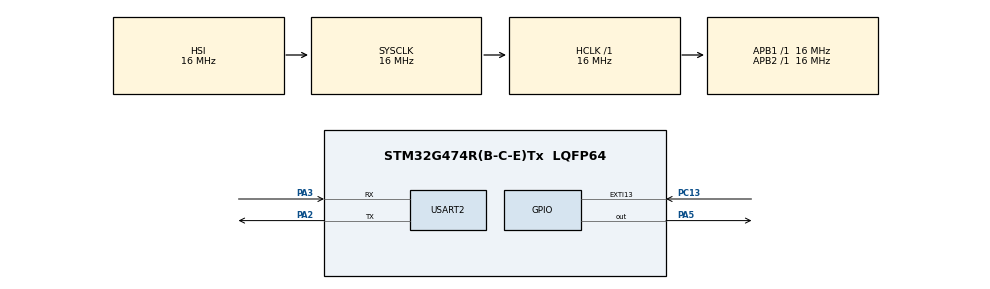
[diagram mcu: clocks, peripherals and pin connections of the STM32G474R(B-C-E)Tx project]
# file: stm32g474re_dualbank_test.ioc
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Mcu.Family=STM32G4
Mcu.Name=STM32G474R(B-C-E)Tx
Mcu.Package=LQFP64
NVIC.EXTI15_10_IRQn=true\:1\:0\:true\:false\:true\:true\:true
NVIC.PriorityGroup=NVIC_PRIORITYGROUP_4
PA13.Mode=Serial_Wire
PA13.Signal=SYS_JTMS-SWDIO
PA14.Mode=Serial_Wire
PA14.Signal=SYS_JTCK-SWCLK
PA2.Mode=Asynchronous
PA2.Signal=USART2_TX
PA3.Mode=Asynchronous
PA3.Signal=USART2_RX
PA5.Signal=GPIO_Output
PC13.Signal=GPXTI13
ProjectManager.HeapSize=0x200
ProjectManager.StackSize=0x800
ProjectManager.TargetToolchain=STM32CubeIDE
RCC.AHBFreq_Value=16000000
RCC.APB1Freq_Value=16000000
RCC.APB1TimFreq_Value=16000000
RCC.APB2Freq_Value=16000000
RCC.APB2TimFreq_Value=16000000
RCC.CortexFreq_Value=16000000
RCC.EXTERNAL_CLOCK_VALUE=12288000
RCC.HCLKFreq_Value=16000000
RCC.HSE_VALUE=8000000
RCC.HSI48_VALUE=48000000
RCC.HSI_VALUE=16000000
RCC.LSE_VALUE=32768
RCC.SYSCLKFreq_VALUE=16000000
RCC.USBFreq_Value=64000000
RCC.VCOOutputFreq_Value=128000000
USART2.VirtualMode-Asynchronous=VM_ASYNC
VP_SYS_VS_DBSignals.Mode=DisableDeadBatterySignals
board=custom

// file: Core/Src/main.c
/* USER CODE BEGIN Header */
/**
  ******************************************************************************
  * @file           : main.c
  * @brief          : Main program body
  ******************************************************************************
  * @attention
  *
  * <h2><center>&copy; Copyright (c) 2020 STMicroelectronics.
  * All rights reserved.</center></h2>
  *
  * This software component is licensed by ST under BSD 3-Clause license,
  * the "License"; You may not use this file except in compliance with the
  * License. You may obtain a copy of the License at:
  *                        opensource.org/licenses/BSD-3-Clause
  *
  ******************************************************************************
  */
/* USER CODE END Header */
#include "main.h"
#include "usart.h"
#include "gpio.h"

/* USER CODE BEGIN Includes */
#include <stdio.h>
#include "flash_if.h"
#include "fw.h"
/* USER CODE END Includes */

void SystemClock_Config(void);
/* USER CODE BEGIN PFP */
extern UART_HandleTypeDef huart2;
int _write(int32_t file, uint8_t *ptr, int32_t len)
{
  if( HAL_UART_Transmit(&huart2, ptr, len, len) == HAL_OK )
    return len;
  else
    return 0;
}
/* USER CODE END PFP */

/* USER CODE BEGIN 0 */
FLASH_OBProgramInitTypeDef    OBInit;
uint32_t BankActive = 0U;
uint32_t BankInActive = 0U;
uint32_t BankSwitch = 0U;

uint32_t checksum = 0;
/* USER CODE END 0 */

int main(void)
{

  /* MCU Configuration--------------------------------------------------------*/

  /* Reset of all peripherals, Initializes the Flash interface and the Systick. */
  HAL_Init();

  /* Configure the system clock */
  SystemClock_Config();

  /* Initialize all configured peripherals */
  MX_GPIO_Init();
  MX_USART2_UART_Init();
  /* USER CODE BEGIN 2 */
  if(READ_BIT(SYSCFG->MEMRMP, SYSCFG_MEMRMP_FB_MODE) == SYSCFG_MEMRMP_FB_MODE)
  {
    BankActive = FLASH_BANK_2;
    BankInActive = FLASH_BANK_1;
  }
  else
  {
    BankActive = FLASH_BANK_1;
    BankInActive = FLASH_BANK_2;
  }

  printf("\r\n\r\n\r\nHello World!!!\r\nApplication Bank num : %d\r\n", (int)BankActive);
  /* USER CODE END 2 */

  /* Infinite loop */
  /* USER CODE BEGIN WHILE */
  while (1)
  {
    //HAL_Delay(200);
    //HAL_GPIO_TogglePin(GPIOA, GPIO_PIN_5);

    //if(BankSwitch == 1)
    {
      /************************* Flash writing ************************/
      printf("Flash erasing...\r\n");

      if(FLASH_If_Erase(BankInActive) != FLASHIF_OK)
      {
        printf("Flash erasing error\r\n");
        while(1){};
      }

      if(FLASH_If_Write(FLASH_START_BANK2, (uint32_t *)FLASH_START_BANK1, 0x40000) != FLASHIF_OK)
      {
        printf("Flash writing error\r\n");
        while(1){};
      }

      printf("Flash writing finished\r\n");
      /************************* Bank switch ************************/
      printf("Bank switch!!!\r\n");
      HAL_FLASH_Unlock();

      /* Clear OPTVERR bit set on virgin samples */
      __HAL_FLASH_CLEAR_FLAG(FLASH_FLAG_OPTVERR);

      /* Allow Access to option bytes sector */
      HAL_FLASH_OB_Unlock();

      /* Get the Dual boot configuration status */
      HAL_FLASHEx_OBGetConfig(&OBInit);

      /* Enable/Disable dual boot feature */
      OBInit.OptionType = OPTIONBYTE_USER;
      OBInit.USERType   = OB_USER_BFB2;

      if (((OBInit.USERConfig) & (OB_BFB2_ENABLE)) == OB_BFB2_ENABLE)
      {
        OBInit.USERConfig = OB_BFB2_DISABLE;
      }
      else
      {
        OBInit.USERConfig = OB_BFB2_ENABLE;
      }

      if(HAL_FLASHEx_OBProgram (&OBInit) != HAL_OK)
      {
        while (1)
        {
          HAL_GPIO_WritePin(GPIOA, GPIO_PIN_5, GPIO_PIN_SET);
          HAL_Delay(100);
          HAL_GPIO_WritePin(GPIOA, GPIO_PIN_5, GPIO_PIN_RESET);
          HAL_Delay(2000);
        }
      }

      if (HAL_FLASH_OB_Launch() != HAL_OK)
      {
        while (1)
        {
          HAL_GPIO_WritePin(GPIOA, GPIO_PIN_5, GPIO_PIN_SET);
          HAL_Delay(100);
          HAL_GPIO_WritePin(GPIOA, GPIO_PIN_5, GPIO_PIN_RESET);
          HAL_Delay(2000);
        }
      }

      HAL_FLASH_OB_Lock();
      HAL_FLASH_Lock();
    }
    /* USER CODE END WHILE */

  }
}

void SystemClock_Config(void)
{
  RCC_OscInitTypeDef RCC_OscInitStruct = {0};
  RCC_ClkInitTypeDef RCC_ClkInitStruct = {0};
  RCC_PeriphCLKInitTypeDef PeriphClkInit = {0};

  /** Configure the main internal regulator output voltage
  */
  HAL_PWREx_ControlVoltageScaling(PWR_REGULATOR_VOLTAGE_SCALE1);
  /** Initializes the RCC Oscillators according to the specified parameters
  * in the RCC_OscInitTypeDef structure.
  */
  RCC_OscInitStruct.OscillatorType = RCC_OSCILLATORTYPE_HSI;
  RCC_OscInitStruct.HSIState = RCC_HSI_ON;
  RCC_OscInitStruct.HSICalibrationValue = RCC_HSICALIBRATION_DEFAULT;
  RCC_OscInitStruct.PLL.PLLState = RCC_PLL_NONE;
  if (HAL_RCC_OscConfig(&RCC_OscInitStruct) != HAL_OK)
  {
    Error_Handler();
  }
  /** Initializes the CPU, AHB and APB buses clocks
  */
  RCC_ClkInitStruct.ClockType = RCC_CLOCKTYPE_HCLK|RCC_CLOCKTYPE_SYSCLK
                              |RCC_CLOCKTYPE_PCLK1|RCC_CLOCKTYPE_PCLK2;
  RCC_ClkInitStruct.SYSCLKSource = RCC_SYSCLKSOURCE_HSI;
  RCC_ClkInitStruct.AHBCLKDivider = RCC_SYSCLK_DIV1;
  RCC_ClkInitStruct.APB1CLKDivider = RCC_HCLK_DIV1;
  RCC_ClkInitStruct.APB2CLKDivider = RCC_HCLK_DIV1;

  if (HAL_RCC_ClockConfig(&RCC_ClkInitStruct, FLASH_LATENCY_0) != HAL_OK)
  {
    Error_Handler();
  }
  /** Initializes the peripherals clocks
  */
  PeriphClkInit.PeriphClockSelection = RCC_PERIPHCLK_USART2;
  PeriphClkInit.Usart2ClockSelection = RCC_USART2CLKSOURCE_PCLK1;
  if (HAL_RCCEx_PeriphCLKConfig(&PeriphClkInit) != HAL_OK)
  {
    Error_Handler();
  }
}

/* USER CODE BEGIN 4 */
void HAL_GPIO_EXTI_Callback(uint16_t GPIO_Pin)
{
  BankSwitch++;
}
/* USER CODE END 4 */

void Error_Handler(void)
{
}

/************************ (C) COPYRIGHT STMicroelectronics *****END OF FILE****/
